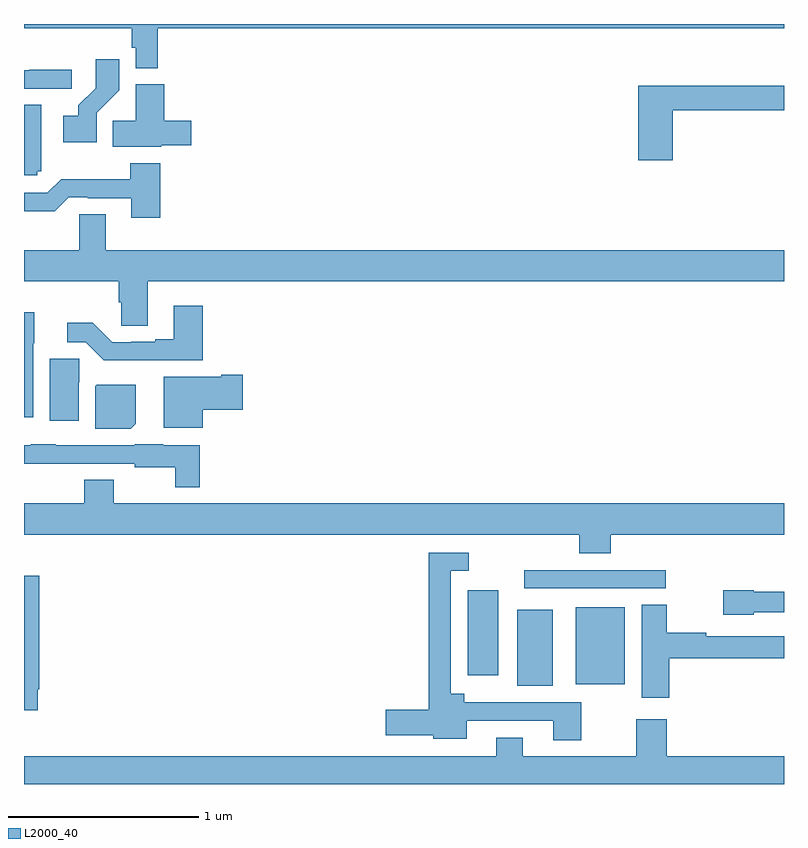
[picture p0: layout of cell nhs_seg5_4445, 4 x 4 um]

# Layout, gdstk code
import gdstk
lib = gdstk.Library(unit=1e-6, precision=1e-09)
def R(c, l, rs):  # rectangles x0, y0, x1, y1
    for r in rs: c.add(gdstk.rectangle(r[:2], r[2:], *l))
def P(c, l, *ps):  # polygons
    for p in ps: c.add(gdstk.Polygon(p, *l))
L2000_40 = (2000, 40)

nhs_seg5_4445 = lib.new_cell('nhs_seg5_4445')
R(nhs_seg5_4445, L2000_40, [(375.596,837.317,375.784,837.715), (375.905,837.323,376.162,837.73), (375.335,837.372,375.496,837.82), (375.633,837.828,376.378,837.924)])
P(nhs_seg5_4445, L2000_40, [(373,840.776),(373.567,840.776),(373.567,840.675),(373.587,840.675),(373.587,840.566),(373.703,840.566),(373.703,840.776),(377,840.776),(377,840.799),(373,840.799)],
  [(373.383,840.331),(373.502,840.45),(373.502,840.613),(373.377,840.613),(373.377,840.461),(373.286,840.371),(373.286,840.316),(373.206,840.316),(373.206,840.176),(373.383,840.176)],
  [(373.252,840.558),(373.027,840.558),(373.027,840.555),(373,840.555),(373,840.459),(373.252,840.459)],
  [(373.722,840.161),(373.879,840.161),(373.879,840.291),(373.739,840.291),(373.739,840.481),(373.589,840.481),(373.589,840.29),(373.468,840.29),(373.468,840.152),(373.722,840.152)],
  [(376.415,840.346),(377,840.346),(377,840.475),(376.232,840.475),(376.232,840.081),(376.415,840.081)],
  [(373.071,840.024),(373.09,840.024),(373.09,840.373),(373,840.373),(373,840.003),(373.071,840.003)],
  [(373.718,840.067),(373.558,840.067),(373.558,839.983),(373.195,839.983),(373.122,839.91),(373.002,839.91),(373.002,839.813),(373.163,839.813),(373.236,839.886),(373.336,839.886),(373.336,839.883),(373.565,839.883),(373.565,839.778),(373.718,839.778)],
  [(373.651,839.444),(377,839.444),(377,839.608),(373.429,839.608),(373.429,839.798),(373.29,839.798),(373.29,839.608),(373,839.608),(373,839.444),(373.499,839.444),(373.499,839.334),(373.512,839.334),(373.512,839.212),(373.651,839.212)],
  [(373.94,839.317),(373.787,839.317),(373.787,839.14),(373.691,839.14),(373.691,839.127),(373.564,839.127),(373.564,839.124),(373.464,839.124),(373.362,839.227),(373.227,839.227),(373.227,839.124),(373.326,839.124),(373.421,839.03),(373.94,839.03)],
  [(373.048,839.118),(373.054,839.118),(373.054,839.281),(373,839.281),(373,838.728),(373.048,838.728)],
  [(373.288,838.914),(373.292,838.914),(373.292,839.037),(373.136,839.037),(373.136,838.71),(373.288,838.71)],
  [(373.942,838.769),(374.152,838.769),(374.152,838.952),(374.039,838.952),(374.039,838.942),(373.736,838.942),(373.736,838.673),(373.942,838.673)],
  [(373.588,838.696),(373.588,838.9),(373.384,838.9),(373.376,838.892),(373.376,838.67),(373.562,838.67)],
  [(373.925,838.582),(373.734,838.582),(373.734,838.588),(373.584,838.588),(373.584,838.581),(373.167,838.581),(373.167,838.588),(373.035,838.588),(373.035,838.582),(373,838.582),(373,838.484),(373.167,838.484),(373.167,838.485),(373.584,838.485),(373.584,838.466),(373.797,838.466),(373.797,838.361),(373.925,838.361)],
  [(376.088,838.112),(377,838.112),(377,838.276),(373.473,838.276),(373.473,838.4),(373.318,838.4),(373.318,838.276),(373,838.276),(373,838.112),(375.923,838.112),(375.923,838.013),(376.088,838.013)],
  [(375.933,837.228),(375.316,837.228),(375.316,837.274),(375.246,837.274),(375.246,837.921),(375.34,837.921),(375.34,838.017),(375.13,838.017),(375.13,837.191),(374.904,837.191),(374.904,837.056),(375.153,837.056),(375.153,837.038),(375.331,837.038),(375.331,837.132),(375.785,837.132),(375.785,837.03),(375.933,837.03)],
  [(373.072,837.298),(373.079,837.298),(373.079,837.896),(373,837.896),(373,837.186),(373.072,837.186)],
  [(376.842,837.702),(377,837.702),(377,837.811),(376.842,837.811),(376.842,837.819),(376.68,837.819),(376.68,837.689),(376.842,837.689)],
  [(376.397,837.46),(377,837.46),(377,837.576),(376.592,837.576),(376.592,837.596),(376.384,837.596),(376.384,837.743),(376.25,837.743),(376.25,837.252),(376.397,837.252)],
  [(377,836.944),(376.382,836.944),(376.382,837.139),(376.222,837.139),(376.222,836.944),(375.625,836.944),(375.625,837.043),(375.485,837.043),(375.485,836.944),(373,836.944),(373,836.799),(377,836.799)])

lib.write_gds('nhs_seg5_4445.gds')
